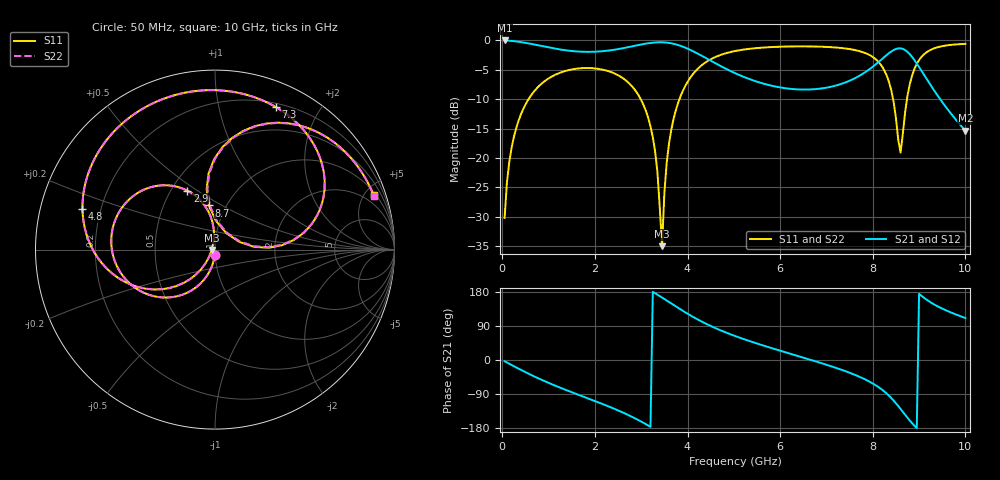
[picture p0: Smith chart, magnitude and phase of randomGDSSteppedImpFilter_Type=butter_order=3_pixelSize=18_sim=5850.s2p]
! freq	dB(S11)	phase(S11)	dB(S12)	phase(S12)
!  dB(S21)	phase(S21)	dB(S22)	phase(S22)
!S-par simulation data
#  GHz  S  DB  R 50
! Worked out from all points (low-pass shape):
!   200 points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, 50 MHz to 10 GHz, reference 50 ohm
!   highest |S21| = -0.01 dB at 50 MHz (marker M1); lowest = -15.4 dB at 10 GHz (marker M2)
!   |S21| within 3 dB of the highest: start of sweep to 4.397 GHz; 8.222 GHz to 8.867 GHz (644.6 MHz wide, 7.54 % of centre)
!   lowest |S11| = -35.0 dB at 3.45 GHz (marker M3), VSWR 1.04, Z = 48.3 - j0.133 ohm
!   |S11| at or under -10 dB: start of sweep to 567 MHz; 2.99 GHz to 3.825 GHz (836 MHz wide, 24.5 % of centre); 8.438 GHz to 8.739 GHz (300.5 MHz wide, 3.5 % of centre)
!   |S22| runs from -34.8 to -0.6 dB; largest |S21 - S12| = 0
!   S11 on the Smith chart (normalised r, x): 50 MHz: 0.99, -0.06; 2.9 GHz: 0.60, +0.46; 4.8 GHz: 0.13, +0.15; 7.3 GHz: 0.24, +1.49; 8.7 GHz: 0.83, +0.44; 10 GHz: 1.21, +5.75
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0.05  -30.17 -93.4  -0.01 -3.3  -0.01 -3.3  -30.17 -93.4
0.2  -18.28 -103.7  -0.09 -13.2  -0.09 -13.2  -18.28 -103.7
0.5  -10.91 -122.6  -0.41 -32.1  -0.41 -32.1  -10.91 -122.6
1.75  -4.71 173.0  -1.93 -96.7  -1.93 -96.7  -4.71 173.0
2.9  -8.81 115.1  -0.85 -156.0  -0.85 -156.0  -8.81 115.1
3.25  -16.44 95.0  -0.38 180.0  -0.38 180.0  -16.44 95.2
3.4  -28.36 103.4  -0.31 168.7  -0.31 168.7  -28.32 103.9
3.45  -34.99 -175.5  -0.32 164.8  -0.32 164.8  -34.81 -176.0
3.55  -20.79 -124.6  -0.37 156.9  -0.37 156.9  -20.79 -124.8
3.8  -10.54 -136.7  -0.79 137.2  -0.79 137.2  -10.54 -136.8
4.2  -4.99 -163.8  -2.17 108.2  -2.17 108.2  -4.99 -163.9
4.8  -2.25 163.0  -4.71 74.0  -4.71 74.0  -2.25 163.0
5.05  -1.77 151.6  -5.65 62.3  -5.65 62.3  -1.77 151.6
6.7  -1.03 89.8  -8.32 -1.1  -8.32 -1.1  -1.03 89.8
7.3  -1.27 66.9  -7.45 -24.7  -7.45 -24.7  -1.27 66.9
7.95  -2.57 35.4  -4.78 -58.5  -4.78 -58.5  -2.57 35.4
8.35  -7.05 7.0  -2.17 -94.2  -2.17 -94.2  -7.04 7.3
8.6  -19.08 55.7  -1.35 -129.3  -1.35 -129.3  -18.78 55.4
8.7  -12.11 97.7  -1.65 -145.0  -1.65 -145.0  -12.05 96.8
8.85  -5.95 90.5  -2.83 -167.0  -2.83 -167.0  -5.94 90.1
9.15  -2.08 64.0  -6.39 160.1  -6.39 160.1  -2.08 63.7
10  -0.59 18.9  -15.36 110.8  -15.36 110.8  -0.59 18.8
